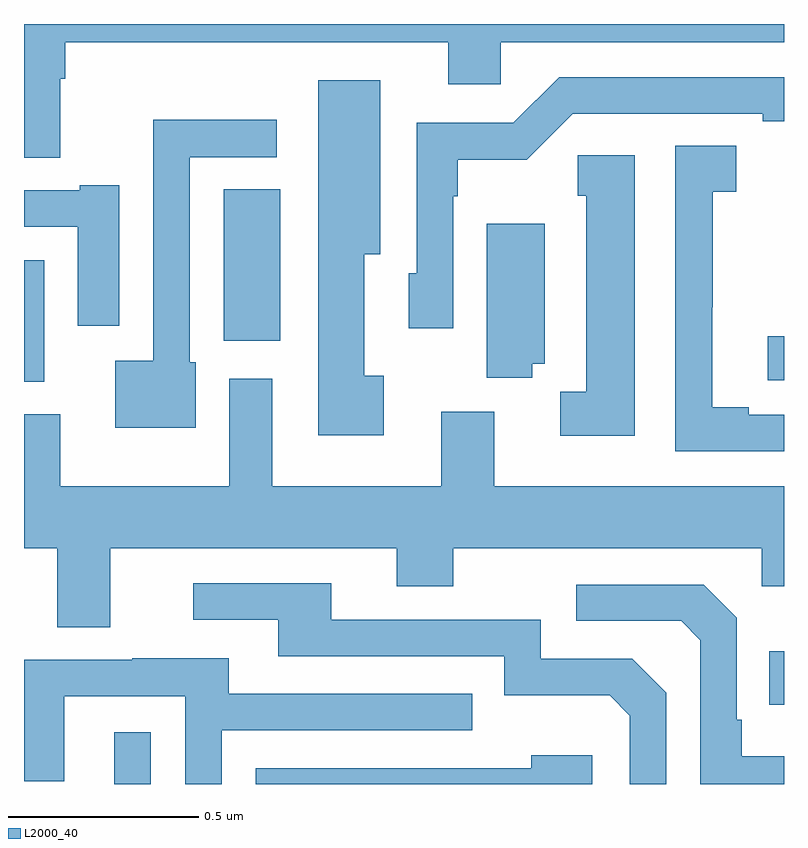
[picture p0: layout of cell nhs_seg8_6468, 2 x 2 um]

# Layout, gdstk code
import gdstk
lib = gdstk.Library(unit=1e-6, precision=1e-09)
def R(c, l, rs):  # rectangles x0, y0, x1, y1
    for r in rs: c.add(gdstk.rectangle(r[:2], r[2:], *l))
def P(c, l, *ps):  # polygons
    for p in ps: c.add(gdstk.Polygon(p, *l))
L2000_40 = (2000, 40)

nhs_seg8_6468 = lib.new_cell('nhs_seg8_6468')
R(nhs_seg8_6468, L2000_40, [(197.237,1095.9,197.334,1096.036), (198.961,1096.109,199,1096.249), (197,1096.958,197.053,1097.278), (198.957,1096.963,199,1097.078), (197.525,1097.067,197.674,1097.465)])
P(nhs_seg8_6468, L2000_40, [(197.095,1097.756),(197.108,1097.756),(197.108,1097.852),(198.116,1097.852),(198.116,1097.742),(198.255,1097.742),(198.255,1097.852),(199,1097.852),(199,1097.9),(197,1097.9),(197,1097.548),(197.095,1097.548)],
  [(198.129,1097.447),(198.142,1097.447),(198.142,1097.543),(198.323,1097.543),(198.444,1097.664),(198.944,1097.664),(198.944,1097.644),(199,1097.644),(199,1097.76),(198.408,1097.76),(198.288,1097.64),(198.033,1097.64),(198.033,1097.244),(198.012,1097.244),(198.012,1097.1),(198.129,1097.1)],
  [(197.947,1096.974),(197.896,1096.974),(197.896,1097.294),(197.938,1097.294),(197.938,1097.752),(197.774,1097.752),(197.774,1096.818),(197.947,1096.818)],
  [(197.452,1097.01),(197.436,1097.01),(197.436,1097.55),(197.665,1097.55),(197.665,1097.648),(197.34,1097.648),(197.34,1097.014),(197.24,1097.014),(197.24,1096.838),(197.452,1096.838)],
  [(199,1096.872),(198.907,1096.872),(198.907,1096.892),(198.811,1096.892),(198.811,1097.155),(198.813,1097.155),(198.813,1097.459),(198.874,1097.459),(198.874,1097.579),(198.714,1097.579),(198.714,1096.776),(199,1096.776)],
  [(198.607,1097.554),(198.457,1097.554),(198.457,1097.448),(198.479,1097.448),(198.479,1096.932),(198.411,1096.932),(198.411,1096.817),(198.607,1096.817)],
  [(197.251,1097.476),(197.147,1097.476),(197.147,1097.463),(197,1097.463),(197,1097.367),(197.141,1097.367),(197.141,1097.106),(197.251,1097.106)],
  [(198.338,1097.006),(198.37,1097.006),(198.37,1097.374),(198.218,1097.374),(198.218,1096.969),(198.338,1096.969)],
  [(197.227,1096.52),(197.981,1096.52),(197.981,1096.421),(198.129,1096.421),(198.129,1096.52),(198.942,1096.52),(198.942,1096.421),(199,1096.421),(199,1096.684),(198.238,1096.684),(198.238,1096.879),(198.098,1096.879),(198.098,1096.684),(197.653,1096.684),(197.653,1096.966),(197.54,1096.966),(197.54,1096.684),(197.095,1096.684),(197.095,1096.873),(197,1096.873),(197,1096.52),(197.087,1096.52),(197.087,1096.312),(197.227,1096.312)],
  [(198.69,1096.14),(198.6,1096.23),(198.36,1096.23),(198.36,1096.332),(197.809,1096.332),(197.809,1096.428),(197.445,1096.428),(197.445,1096.332),(197.669,1096.332),(197.669,1096.236),(198.264,1096.236),(198.264,1096.133),(198.541,1096.133),(198.594,1096.08),(198.594,1095.9),(198.69,1095.9)],
  [(199,1095.973),(198.889,1095.973),(198.889,1096.069),(198.876,1096.069),(198.876,1096.338),(198.789,1096.425),(198.453,1096.425),(198.453,1096.329),(198.729,1096.329),(198.78,1096.278),(198.78,1095.9),(199,1095.9)],
  [(197.52,1096.041),(198.179,1096.041),(198.179,1096.137),(197.539,1096.137),(197.539,1096.231),(197.285,1096.231),(197.285,1096.227),(197,1096.227),(197,1095.907),(197.106,1095.907),(197.106,1096.131),(197.424,1096.131),(197.424,1095.9),(197.52,1095.9)],
  [(198.496,1095.976),(198.335,1095.976),(198.335,1095.942),(197.61,1095.942),(197.61,1095.9),(198.496,1095.9)])

lib.write_gds('nhs_seg8_6468.gds')
